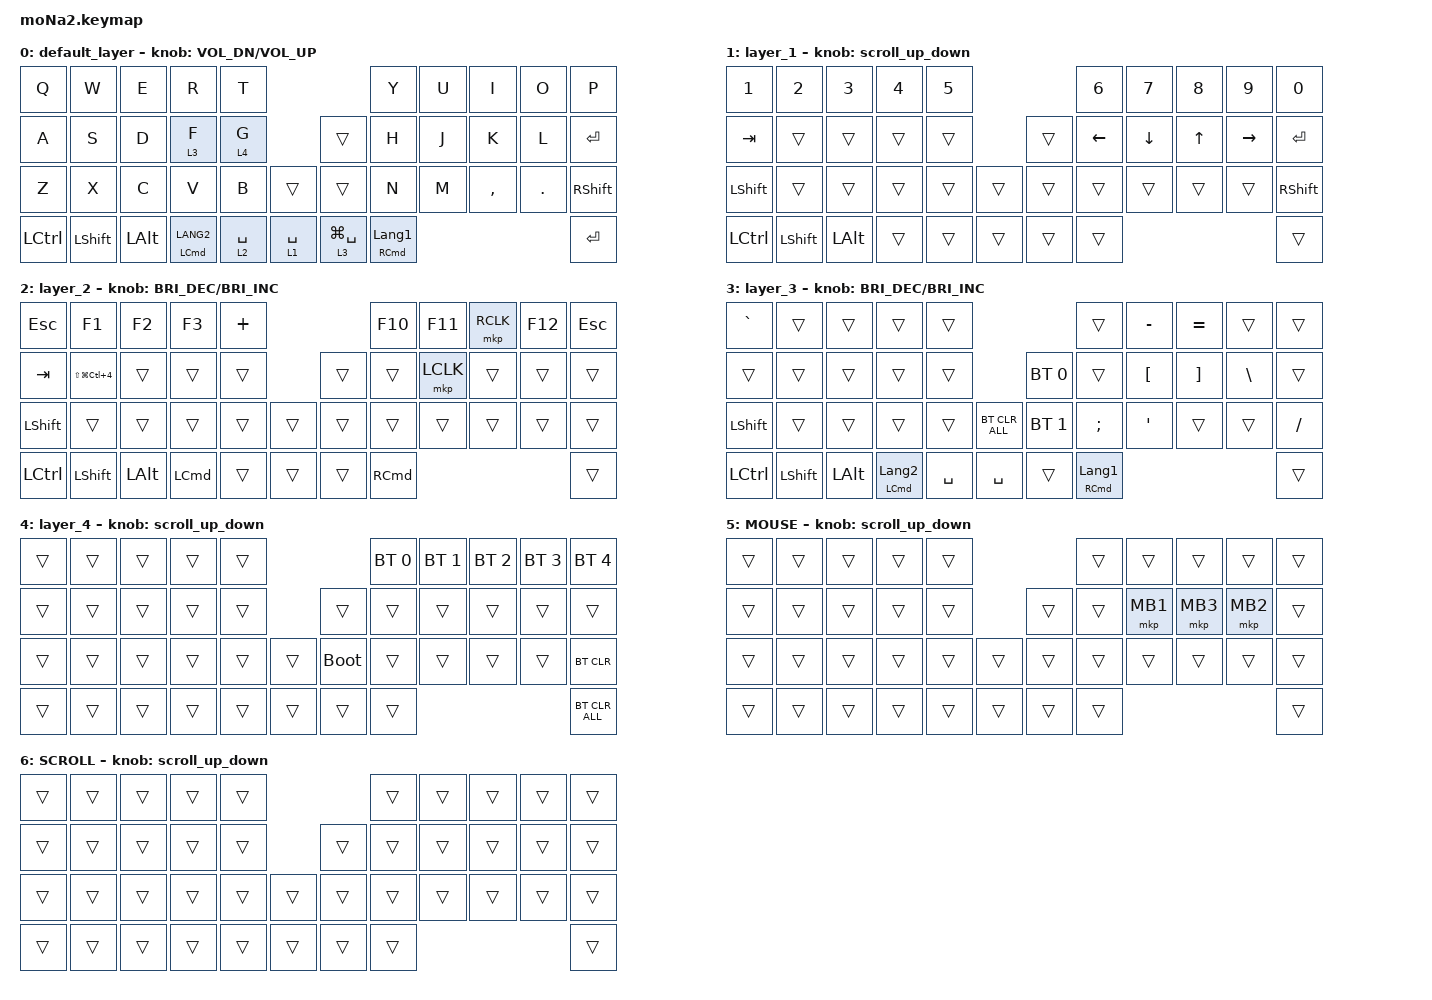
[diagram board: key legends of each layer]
#include <behaviors.dtsi>
#include <dt-bindings/zmk/bt.h>
#include <dt-bindings/zmk/keys.h>
#include <dt-bindings/zmk/pointing.h>

#define ZMK_POINTING_DEFAULT_SCRL_VAL 100
#define MOUSE 5
#define SCROLL 6

&mt {
    flavor = "balanced";
    quick-tap-ms = <0>;
};

/ {
    combos { compatible = "zmk,combos"; };

    macros {
        to_layer_0: to_layer_0 {
            compatible = "zmk,behavior-macro-one-param";
            #binding-cells = <1>;
            bindings = <&to 0 &macro_param_1to1 &kp MACRO_PLACEHOLDER>;
            label = "TO_LAYER_0";
        };
    };

    behaviors {
        lt_to_layer_0: lt_to_layer_0 {
            compatible = "zmk,behavior-hold-tap";
            label = "LAYER_TAP_TO_0";
            bindings = <&mo>, <&to_layer_0>;

            #binding-cells = <2>;
            tapping-term-ms = <200>;
        };

        scroll_up_down: behavior_sensor_rotate_mouse_wheel_up_down {
            compatible = "zmk,behavior-sensor-rotate";
            #sensor-binding-cells = <0>;
            bindings = <&msc SCRL_UP>, <&msc SCRL_DOWN>;

            tap-ms = <20>;
        };
    };

    keymap {
        compatible = "zmk,keymap";

        default_layer {
            bindings = <
&kp Q      &kp W           &kp E         &kp R                   &kp T                                        &kp Y                         &kp U  &kp I      &kp O    &kp P
&kp A      &kp S           &kp D         &lt 3 F                 &lt 4 G                     &trans           &kp H                         &kp J  &kp K      &kp L    &kp ENTER
&kp Z      &kp X           &kp C         &kp V                   &kp B        &trans         &trans           &kp N                         &kp M  &kp COMMA  &kp DOT  &kp RIGHT_SHIFT
&kp LCTRL  &kp LEFT_SHIFT  &kp LEFT_ALT  &mt LEFT_COMMAND LANG2  &lt 2 SPACE  &lt 1 SPACE    &lt 3 LG(SPACE)  &mt RIGHT_COMMAND LANGUAGE_1                             &kp ENTER
            >;

            sensor-bindings = <&inc_dec_kp C_VOL_DN C_VOL_UP>;
        };

        layer_1 {
            bindings = <
&kp NUMBER_1    &kp NUMBER_2    &kp NUMBER_3  &kp NUMBER_4  &kp N5                    &kp NUMBER_6  &kp N7    &kp N8  &kp N9     &kp N0
&kp TAB         &trans          &trans        &trans        &trans            &trans  &kp LEFT      &kp DOWN  &kp UP  &kp RIGHT  &kp ENTER
&kp LEFT_SHIFT  &trans          &trans        &trans        &trans  &trans    &trans  &trans        &trans    &trans  &trans     &kp RIGHT_SHIFT
&kp LCTRL       &kp LEFT_SHIFT  &kp LEFT_ALT  &trans        &trans  &trans    &trans  &trans                                     &trans
            >;

            sensor-bindings = <&scroll_up_down>;
        };

        layer_2 {
            bindings = <
&kp ESCAPE      &kp F1                    &kp F2        &kp F3            &kp PLUS                    &kp F10            &kp F11    &mkp RCLK  &kp F12  &kp ESCAPE
&kp TAB         &kp LS(LG(LC(NUMBER_4)))  &trans        &trans            &trans              &trans  &trans             &mkp LCLK  &trans     &trans   &trans
&kp LEFT_SHIFT  &trans                    &trans        &trans            &trans    &trans    &trans  &trans             &trans     &trans     &trans   &trans
&kp LCTRL       &kp LEFT_SHIFT            &kp LEFT_ALT  &kp LEFT_COMMAND  &trans    &trans    &trans  &kp RIGHT_COMMAND                                 &trans
            >;

            sensor-bindings = <&inc_dec_kp C_BRI_DEC C_BRIGHTNESS_INC>;
        };

        layer_3 {
            bindings = <
&kp GRAVE       &trans          &trans        &trans                       &trans                                     &trans                        &kp MINUS         &kp EQUAL          &trans         &trans
&trans          &trans          &trans        &trans                       &trans                       &bt BT_SEL 0  &trans                        &kp LEFT_BRACKET  &kp RIGHT_BRACKET  &kp BACKSLASH  &trans
&kp LEFT_SHIFT  &trans          &trans        &trans                       &trans     &bt BT_CLR_ALL    &bt BT_SEL 1  &kp SEMICOLON                 &kp SQT           &trans             &trans         &kp SLASH
&kp LCTRL       &kp LEFT_SHIFT  &kp LEFT_ALT  &mt LEFT_COMMAND LANGUAGE_2  &kp SPACE  &kp SPACE         &trans        &mt RIGHT_COMMAND LANGUAGE_1                                                      &trans
            >;

            sensor-bindings = <&inc_dec_kp C_BRIGHTNESS_DEC C_BRIGHTNESS_INC>;
        };

        layer_4 {
            bindings = <
&trans  &trans  &trans  &trans  &trans                         &bt BT_SEL 0  &bt BT_SEL 1  &bt BT_SEL 2  &bt BT_SEL 3  &bt BT_SEL 4
&trans  &trans  &trans  &trans  &trans            &trans       &trans        &trans        &trans        &trans        &trans
&trans  &trans  &trans  &trans  &trans  &trans    &bootloader  &trans        &trans        &trans        &trans        &bt BT_CLR
&trans  &trans  &trans  &trans  &trans  &trans    &trans       &trans                                                  &bt BT_CLR_ALL
            >;

            sensor-bindings = <&scroll_up_down>;
        };

        MOUSE {
            bindings = <
&trans  &trans  &trans  &trans  &trans                    &trans  &trans    &trans    &trans    &trans
&trans  &trans  &trans  &trans  &trans            &trans  &trans  &mkp MB1  &mkp MB3  &mkp MB2  &trans
&trans  &trans  &trans  &trans  &trans  &trans    &trans  &trans  &trans    &trans    &trans    &trans
&trans  &trans  &trans  &trans  &trans  &trans    &trans  &trans                                &trans
            >;

            sensor-bindings = <&scroll_up_down>;
        };

        SCROLL {
            bindings = <
&trans  &trans  &trans  &trans  &trans                    &trans  &trans  &trans  &trans  &trans
&trans  &trans  &trans  &trans  &trans            &trans  &trans  &trans  &trans  &trans  &trans
&trans  &trans  &trans  &trans  &trans  &trans    &trans  &trans  &trans  &trans  &trans  &trans
&trans  &trans  &trans  &trans  &trans  &trans    &trans  &trans                          &trans
            >;

            sensor-bindings = <&scroll_up_down>;
        };
    };
};
